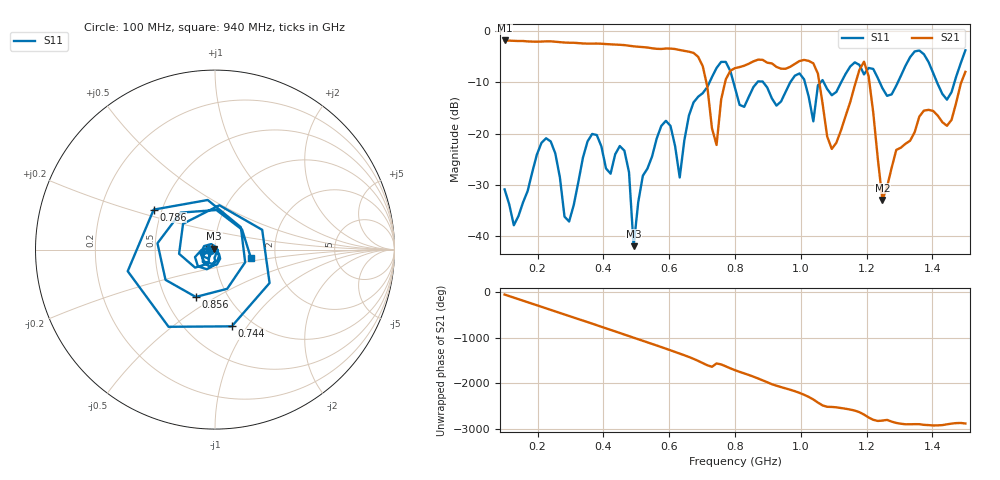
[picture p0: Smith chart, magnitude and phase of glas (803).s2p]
! NanoVNA-App
! Date: 2025-09-25 16:01:43
! Start: 100MHz Stop: 1,5GHz Points: 101
! S-Parameter data: F S11 S21 S12 S22
# Hz S RI R 50
!  Frequency  S11_Real  S11_Imag  S21_Real  S21_Imag  S12_Real  S12_Imag  S22_Real  S22_Imag
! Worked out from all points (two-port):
!   101 points, 100 MHz to 1.5 GHz, reference 50 ohm
!   highest |S21| = -1.80 dB at 100 MHz (marker M1); lowest = -33.0 dB at 1.248 GHz (marker M2)
!   |S21| within 3 dB of the highest: start of sweep to 684.4 MHz
!   lowest |S11| = -42.0 dB at 492 MHz (marker M3), VSWR 1.02, Z = 49.5 + j0.603 ohm
!   |S11| at or under -10 dB: start of sweep to 722.5 MHz; 795.4 MHz to 867.6 MHz (72.2 MHz wide, 8.68 % of centre); 886 MHz to 967.7 MHz (81.72 MHz wide, 8.82 % of centre) (the widest 3 of 7)
!   S12 and S22 are empty: the file has one direction only
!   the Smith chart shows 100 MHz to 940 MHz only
!   S11 on the Smith chart (normalised r, x): 100 MHz: 0.94, -0.01; 744 MHz: 0.80, -0.85; 786 MHz: 0.45, +0.24; 856 MHz: 0.71, -0.41; 940 MHz: 1.49, -0.15
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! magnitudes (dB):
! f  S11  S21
! 100 MHz  -30.9  -1.8
! 128 MHz  -37.9  -1.9
! 226 MHz  -20.9  -2.0
! 296 MHz  -37.2  -2.2
! 338 MHz  -24.7  -2.4
! 464 MHz  -23.4  -2.7
! 492 MHz  -42.0  -2.9
! 576 MHz  -18.5  -3.5
! 632 MHz  -28.6  -3.7
! 702 MHz  -12.1  -6.8
! 744 MHz  -7.2  -22.2
! 786 MHz  -7.8  -7.7
! 800 MHz  -11.1  -7.2
! 856 MHz  -10.9  -5.9
! 940 MHz  -13.7  -7.3
! 996 MHz  -8.2  -5.8
! 1.038 GHz  -17.6  -6.3
! 1.094 GHz  -12.5  -23.0
! 1.192 GHz  -8.4  -6.0
! 1.248 GHz  -11.1  -33.0
! 1.276 GHz  -12.3  -26.7
! 1.5 GHz  -3.7  -7.9
